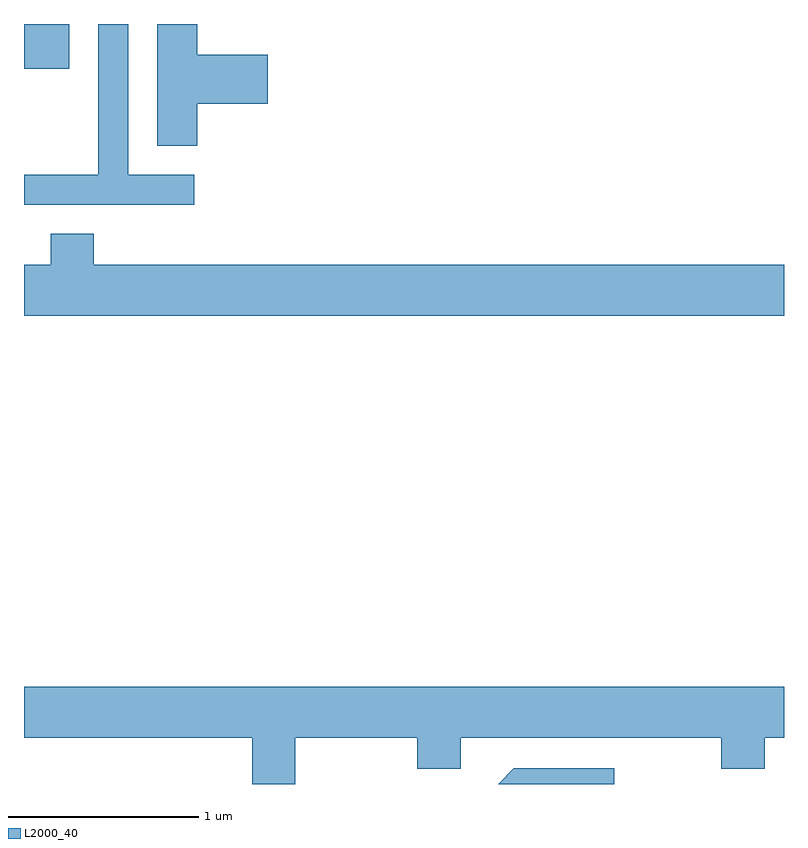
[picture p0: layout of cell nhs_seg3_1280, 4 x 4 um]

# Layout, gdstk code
import gdstk
lib = gdstk.Library(unit=1e-6, precision=1e-09)
def R(c, l, rs):  # rectangles x0, y0, x1, y1
    for r in rs: c.add(gdstk.rectangle(r[:2], r[2:], *l))
def P(c, l, *ps):  # polygons
    for p in ps: c.add(gdstk.Polygon(p, *l))
L2000_40 = (2000, 40)

nhs_seg3_1280 = lib.new_cell('nhs_seg3_1280')
R(nhs_seg3_1280, L2000_40, [(221.611,1231.656,221.849,1231.892)])
P(nhs_seg3_1280, L2000_40, [(222.524,1231.471),(222.894,1231.471),(222.894,1231.729),(222.524,1231.729),(222.524,1231.892),(222.311,1231.892),(222.311,1231.251),(222.524,1231.251)],
  [(222.508,1231.099),(222.159,1231.099),(222.159,1231.892),(222.001,1231.892),(222.001,1231.099),(221.611,1231.099),(221.611,1230.941),(222.508,1230.941)],
  [(225.611,1230.624),(221.979,1230.624),(221.979,1230.789),(221.751,1230.789),(221.751,1230.624),(221.611,1230.624),(221.611,1230.356),(225.611,1230.356)],
  [(223.039,1228.136),(223.681,1228.136),(223.681,1227.971),(223.909,1227.971),(223.909,1228.136),(225.281,1228.136),(225.281,1227.971),(225.509,1227.971),(225.509,1228.136),(225.611,1228.136),(225.611,1228.404),(221.611,1228.404),(221.611,1228.136),(222.811,1228.136),(222.811,1227.892),(223.039,1227.892)],
  [(224.718,1227.974),(224.189,1227.974),(224.107,1227.892),(224.718,1227.892)])

lib.write_gds('nhs_seg3_1280.gds')
